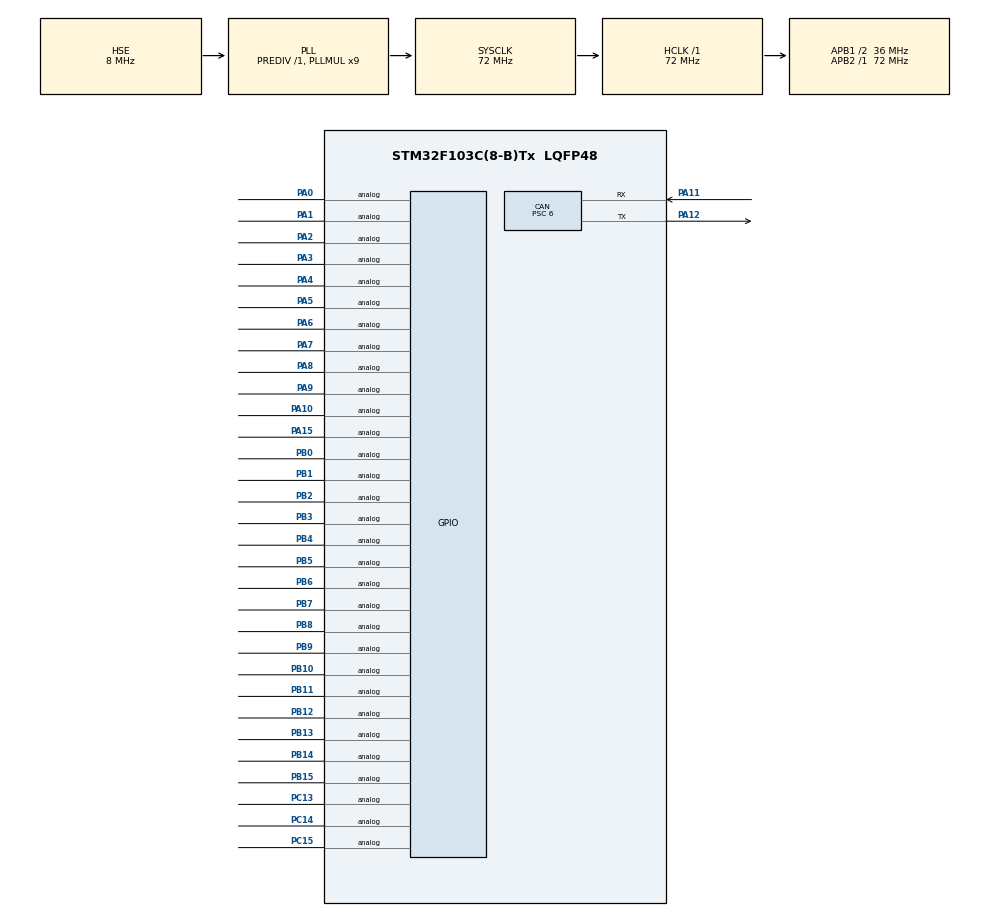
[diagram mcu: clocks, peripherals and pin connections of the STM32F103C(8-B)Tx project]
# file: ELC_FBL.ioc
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CAN.ABOM=ENABLE
CAN.AWUM=ENABLE
CAN.BS1=CAN_BS1_5TQ
CAN.BS2=CAN_BS2_6TQ
CAN.CalculateBaudRate=499999
CAN.CalculateTimeBit=2000
CAN.CalculateTimeQuantum=166.66666666666669
CAN.NART=ENABLE
CAN.Prescaler=6
Mcu.Family=STM32F1
Mcu.Name=STM32F103C(8-B)Tx
Mcu.Package=LQFP48
NVIC.CAN1_RX1_IRQn=true\:0\:0\:false\:true\:true\:5\:true\:true\:true
NVIC.CAN1_SCE_IRQn=true\:0\:0\:false\:true\:true\:4\:true\:true\:true
NVIC.FLASH_IRQn=true\:0\:0\:false\:true\:true\:2\:true\:true\:true
NVIC.PVD_IRQn=true\:0\:0\:false\:true\:true\:3\:true\:true\:true
NVIC.PriorityGroup=NVIC_PRIORITYGROUP_4
NVIC.RCC_IRQn=true\:0\:0\:false\:true\:true\:1\:true\:false\:true
NVIC.USB_HP_CAN1_TX_IRQn=true\:0\:0\:false\:true\:true\:7\:true\:true\:true
NVIC.USB_LP_CAN1_RX0_IRQn=true\:0\:0\:false\:true\:true\:6\:true\:true\:true
PA0-WKUP.Signal=GPIO_Analog
PA1.Signal=GPIO_Analog
PA10.Signal=GPIO_Analog
PA11.GPIO_PuPd=GPIO_PULLUP
PA11.Mode=CAN_Activate
PA11.Signal=CAN_RX
PA12.Mode=CAN_Activate
PA12.Signal=CAN_TX
PA13.Mode=Serial_Wire
PA13.Signal=SYS_JTMS-SWDIO
PA14.Mode=Serial_Wire
PA14.Signal=SYS_JTCK-SWCLK
PA15.Signal=GPIO_Analog
PA2.Signal=GPIO_Analog
PA3.Signal=GPIO_Analog
PA4.Signal=GPIO_Analog
PA5.Signal=GPIO_Analog
PA6.Signal=GPIO_Analog
PA7.Signal=GPIO_Analog
PA8.Signal=GPIO_Analog
PA9.Signal=GPIO_Analog
PB0.Signal=GPIO_Analog
PB1.Signal=GPIO_Analog
PB10.Signal=GPIO_Analog
PB11.Signal=GPIO_Analog
PB12.Signal=GPIO_Analog
PB13.Signal=GPIO_Analog
PB14.Signal=GPIO_Analog
PB15.Signal=GPIO_Analog
PB2.Signal=GPIO_Analog
PB3.Signal=GPIO_Analog
PB4.Signal=GPIO_Analog
PB5.Signal=GPIO_Analog
PB6.Signal=GPIO_Analog
PB7.Signal=GPIO_Analog
PB8.Signal=GPIO_Analog
PB9.Signal=GPIO_Analog
PC13-TAMPER-RTC.Signal=GPIO_Analog
PC14-OSC32_IN.Signal=GPIO_Analog
PC15-OSC32_OUT.Signal=GPIO_Analog
PD0-OSC_IN.Mode=HSE-External-Oscillator
PD0-OSC_IN.Signal=RCC_OSC_IN
PD1-OSC_OUT.Mode=HSE-External-Oscillator
PD1-OSC_OUT.Signal=RCC_OSC_OUT
ProjectManager.HeapSize=0x190
ProjectManager.StackSize=0x190
ProjectManager.TargetToolchain=STM32CubeIDE
RCC.ADCPresc=RCC_ADCPCLK2_DIV6
RCC.AHBFreq_Value=72000000
RCC.APB1CLKDivider=RCC_HCLK_DIV2
RCC.APB1Freq_Value=36000000
RCC.APB1TimFreq_Value=72000000
RCC.APB2Freq_Value=72000000
RCC.APB2TimFreq_Value=72000000
RCC.HCLKFreq_Value=72000000
RCC.PLLMUL=RCC_PLL_MUL9
RCC.PLLSourceVirtual=RCC_PLLSOURCE_HSE
RCC.SYSCLKFreq_VALUE=72000000
RCC.SYSCLKSource=RCC_SYSCLKSOURCE_PLLCLK
RCC.USBFreq_Value=72000000
VP_CRC_VS_CRC.Mode=CRC_Activate
board=custom

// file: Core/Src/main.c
/* USER CODE BEGIN Header */
/* USER CODE END Header */
#include "main.h"
#include "can.h"
#include "crc.h"
#include "gpio.h"

/* USER CODE BEGIN Includes */
#include <stdint.h>
#include <string.h>

#define SYST_CSR  (*(volatile uint32_t*)0xE000E010)
#define SYST_RVR  (*(volatile uint32_t*)0xE000E014)
#define SYST_CVR  (*(volatile uint32_t*)0xE000E018)
#define SESSIONSTATUS_ADDR 					0x20004FC0
#define APPL_START_ADDRESS 					0x08003C00
#define APPL_END_ADDRESS     0x0800F7FFu    /* same as erase end */
#define APPL_CRC_ADDRESS     (APPL_END_ADDRESS - 3u) /* last 4 bytes */
#define APPL_PARAMFLASH_START_ADDRESS 0x08003800u
#define APPL_PARAMFLASH_END_ADDRESS 0x08003BFFu

typedef uint8_t uint8;
typedef uint16_t uint16;
typedef uint32_t uint32;
typedef enum
{
	PROGRAMMING = 2U,
	HARDRESET = 5U,
	JUMPTOAPPL = 7U
}FBL_DSC_t;

volatile uint8_t g_run_ram_updater;
FBL_DSC_t FBL_DSC_State = JUMPTOAPPL;
uint32* FBL_DSC_Pointer = (uint32*)SESSIONSTATUS_ADDR;
uint32 FBL_DSC_Status;
extern uint8_t __ram_blob_load_start[];
extern uint8_t __ram_blob_load_end[];
extern uint8_t __ram_blob_vma_start[];
extern uint8_t __ram_blob_vma_end[];

#define BOOT_START APPL_START_ADDRESS
#define BOOT_END APPL_CRC_ADDRESS
#define BOOT_BLOCK 1
#define BOOT_LEGACY_ERASE 4
#include "boot_protocol.h"
static Boot_Context boot;
static uint8_t FBL_AppVectorsValid(void);
void FBL_RunRamUpdater(void);
void FBL_JumpToAppl(void);
void FBL_DiagService_ER_HardReset(void);
void FBL_NvM_FlashReadData(uint32 StartSectorAddress, uint32 *RxBuf, uint16 numberofwords);
uint32 FBL_NvM_FlashWriteData(uint32 StartSectorAddress, uint32 *Data, uint16 numberofwords);
uint32 FBL_NvM_EraseFlash_APPL(void);
uint32 Nvm_GetPage(uint32 Address);
uint32 FBL_NvM_EraseFlash_PARAM(void);
/* USER CODE END Includes */

/* USER CODE BEGIN PTD */
void FBL_RunRamUpdater(void)
{
    uint32_t previousMask=__get_PRIMASK();
	__disable_irq();

	SYST_CSR = 0; SYST_RVR = 0; SYST_CVR = 0;

	uint8_t *src = __ram_blob_load_start;
	uint8_t *end = __ram_blob_load_end;
	uint8_t *dst = __ram_blob_vma_start;

	size_t size = (size_t)(end - src);
	/* Leave at least 1 KiB below the updater MSP at 0x20004F80. */
	if (((uintptr_t)dst < 0x20000000u) ||
		((uintptr_t)__ram_blob_vma_end > 0x20004B80u) ||
		(((uintptr_t)dst & 0x7Fu) != 0u) ||
		(size < 8u) ||
		(size != (size_t)(__ram_blob_vma_end - dst)))
	{
		__set_PRIMASK(previousMask);
		return;
	}
	memcpy(dst, src, size);

	uint32_t vtor     = (uint32_t)dst;
	uint32_t new_msp  = *(uint32_t *)(vtor + 0);
	uint32_t reset_pc = *(uint32_t *)(vtor + 4);
	if ((new_msp != 0x20004F80u) ||
		((reset_pc & 1u) == 0u) ||
		((reset_pc & ~1u) < vtor) ||
		((reset_pc & ~1u) >= (vtor + size)))
	{
		__set_PRIMASK(previousMask);
		return;
	}

	SCB->VTOR = vtor;
	__DSB();
	__ISB();

	__asm volatile("msr msp, %0\n bx %1"::"r"(new_msp),"r"(reset_pc):"memory");
	__builtin_unreachable();
}

typedef struct {uint8_t data[8],len;} BootRxFrame;
static BootRxFrame bootQueue[16];
static volatile uint8_t bootHead,bootTail;
void HAL_CAN_RxFifo0MsgPendingCallback(CAN_HandleTypeDef *handle)
{
    CAN_RxHeaderTypeDef h;uint8_t d[8];
    while(HAL_CAN_GetRxFifoFillLevel(handle,CAN_RX_FIFO0)){
        if(HAL_CAN_GetRxMessage(handle,CAN_RX_FIFO0,&h,d)!=HAL_OK)break;
        if(h.IDE!=CAN_ID_STD||h.RTR!=CAN_RTR_DATA||h.StdId!=BOOT_RX_ID||h.DLC>8)continue;
        uint8_t next=(bootHead+1u)%16u;if(next==bootTail)continue;
        for(unsigned i=0;i<h.DLC;++i)bootQueue[bootHead].data[i]=d[i];
        bootQueue[bootHead].len=(uint8_t)h.DLC;bootHead=next;
    }
}
/* USER CODE END PTD */

void SystemClock_Config(void);
static void MX_NVIC_Init(void);

int main(void)
{

  /* MCU Configuration--------------------------------------------------------*/

  /* Reset of all peripherals, Initializes the Flash interface and the Systick. */
  HAL_Init();

  /* Configure the system clock */
  SystemClock_Config();

  /* Initialize all configured peripherals */
  Boot_Init(&boot);
  MX_GPIO_Init();
  MX_CAN_Init();
  MX_CRC_Init();

  /* Initialize interrupts */
  MX_NVIC_Init();
  /* USER CODE BEGIN 2 */

	PWR_PVDTypeDef sConfigPVD;

	sConfigPVD.Mode = PWR_PVD_MODE_IT_FALLING;
	sConfigPVD.PVDLevel = PWR_PVDLEVEL_0;

	HAL_PWR_ConfigPVD(&sConfigPVD);

	HAL_PWR_EnablePVD();

	if(((RCC->CSR & RCC_CSR_PORRSTF) != 0))
	{
		for(uint32* addr = ((uint32*)0x20004fc0); addr <= ((uint32*)0x20004fff); addr++)
		{
			*addr = 0;
		}

		RCC->CSR |= RCC_CSR_PORRSTF;
		RCC->CSR |= RCC_CSR_RMVF;
	}
	else
	{
		/* Do nothing. */
	}

    /* A single explicit retained session word is shared with APP. The old
       0x20004FC8 heuristic aliases APP active-time data and is not a boot request. */
    FBL_DSC_Status=*FBL_DSC_Pointer;

	if ((FBL_DSC_Status == PROGRAMMING) || (FBL_AppVectorsValid() == 0u))
	{
		FBL_DSC_State = PROGRAMMING;
	}
	else
	{
		FBL_JumpToAppl();
	}

  /* USER CODE END 2 */

  /* Infinite loop */
	while (1)
	{

    /* USER CODE BEGIN 3 */

        Boot_MainFunction(&boot,HAL_GetTick());
        if(bootTail!=bootHead){
            BootRxFrame frame=bootQueue[bootTail];bootTail=(bootTail+1u)%16u;
            BootTp_RxIndication(&boot,frame.data,frame.len,HAL_GetTick());
        }
		if (g_run_ram_updater)
		{
			g_run_ram_updater = 0;

			FBL_RunRamUpdater();
		}
		else
		{
			/* Do nothing. */
		}
	}

  /* USER CODE END 3 */
}

void SystemClock_Config(void)
{
  RCC_OscInitTypeDef RCC_OscInitStruct = {0};
  RCC_ClkInitTypeDef RCC_ClkInitStruct = {0};

  /** Initializes the RCC Oscillators according to the specified parameters
  * in the RCC_OscInitTypeDef structure.
  */
  RCC_OscInitStruct.OscillatorType = RCC_OSCILLATORTYPE_HSE;
  RCC_OscInitStruct.HSEState = RCC_HSE_ON;
  RCC_OscInitStruct.HSEPredivValue = RCC_HSE_PREDIV_DIV1;
  RCC_OscInitStruct.HSIState = RCC_HSI_ON;
  RCC_OscInitStruct.PLL.PLLState = RCC_PLL_ON;
  RCC_OscInitStruct.PLL.PLLSource = RCC_PLLSOURCE_HSE;
  RCC_OscInitStruct.PLL.PLLMUL = RCC_PLL_MUL9;
  if (HAL_RCC_OscConfig(&RCC_OscInitStruct) != HAL_OK)
  {
    Error_Handler();
  }

  /** Initializes the CPU, AHB and APB buses clocks
  */
  RCC_ClkInitStruct.ClockType = RCC_CLOCKTYPE_HCLK|RCC_CLOCKTYPE_SYSCLK
                              |RCC_CLOCKTYPE_PCLK1|RCC_CLOCKTYPE_PCLK2;
  RCC_ClkInitStruct.SYSCLKSource = RCC_SYSCLKSOURCE_PLLCLK;
  RCC_ClkInitStruct.AHBCLKDivider = RCC_SYSCLK_DIV1;
  RCC_ClkInitStruct.APB1CLKDivider = RCC_HCLK_DIV2;
  RCC_ClkInitStruct.APB2CLKDivider = RCC_HCLK_DIV1;

  if (HAL_RCC_ClockConfig(&RCC_ClkInitStruct, FLASH_LATENCY_2) != HAL_OK)
  {
    Error_Handler();
  }
}

/**
  * @brief NVIC Configuration.
  * @retval None
  */
static void MX_NVIC_Init(void)
{
  /* RCC_IRQn interrupt configuration */
  HAL_NVIC_SetPriority(RCC_IRQn, 0, 0);
  HAL_NVIC_EnableIRQ(RCC_IRQn);
  /* FLASH_IRQn interrupt configuration */
  HAL_NVIC_SetPriority(FLASH_IRQn, 0, 0);
  HAL_NVIC_EnableIRQ(FLASH_IRQn);
  /* PVD_IRQn interrupt configuration */
  HAL_NVIC_SetPriority(PVD_IRQn, 0, 0);
  HAL_NVIC_EnableIRQ(PVD_IRQn);
  /* CAN1_SCE_IRQn interrupt configuration */
  HAL_NVIC_SetPriority(CAN1_SCE_IRQn, 0, 0);
  HAL_NVIC_EnableIRQ(CAN1_SCE_IRQn);
  /* CAN1_RX1_IRQn interrupt configuration */
  HAL_NVIC_SetPriority(CAN1_RX1_IRQn, 0, 0);
  HAL_NVIC_EnableIRQ(CAN1_RX1_IRQn);
  /* USB_LP_CAN1_RX0_IRQn interrupt configuration */
  HAL_NVIC_SetPriority(USB_LP_CAN1_RX0_IRQn, 0, 0);
  HAL_NVIC_EnableIRQ(USB_LP_CAN1_RX0_IRQn);
  /* USB_HP_CAN1_TX_IRQn interrupt configuration */
  HAL_NVIC_SetPriority(USB_HP_CAN1_TX_IRQn, 0, 0);
  HAL_NVIC_EnableIRQ(USB_HP_CAN1_TX_IRQn);
}

/* USER CODE BEGIN 4 */
static uint8_t FBL_AppVectorsValid(void)
{
    uint32_t msp=*(const uint32_t*)APPL_START_ADDRESS,pc=*(const uint32_t*)(APPL_START_ADDRESS+4u);
    return msp>=0x20000000u && msp<=0x20004FC0u && !(msp&7u) && (pc&1u) &&
        (pc&~1u)>=APPL_START_ADDRESS && (pc&~1u)<APPL_CRC_ADDRESS &&
        *(const uint32_t*)APPL_CRC_ADDRESS==Boot_Crc((const uint8_t*)APPL_START_ADDRESS,APPL_CRC_ADDRESS-APPL_START_ADDRESS);
}
static int BootPort_Send(const uint8_t frame[8])
{
    CAN_TxHeaderTypeDef h={0};uint32_t mailbox,start=HAL_GetTick();
    h.StdId=BOOT_TX_ID;h.IDE=CAN_ID_STD;h.RTR=CAN_RTR_DATA;h.DLC=8;
    if(HAL_CAN_AddTxMessage(&hcan,&h,(uint8_t*)frame,&mailbox)!=HAL_OK)return -1;
    while(HAL_CAN_IsTxMessagePending(&hcan,mailbox))if((uint32_t)(HAL_GetTick()-start)>=100u){HAL_CAN_AbortTxRequest(&hcan,mailbox);return -1;}
    unsigned shift=mailbox==CAN_TX_MAILBOX0?0u:mailbox==CAN_TX_MAILBOX1?8u:16u;
    return (hcan.Instance->TSR&(CAN_TSR_TXOK0<<shift))?0:-1;
}
static int BootPort_Program(uint32_t address,uint32_t word)
{return FBL_NvM_FlashWriteData(address,&word,1)?-1:0;}
static int BootPort_Erase(uint32_t address,uint32_t size)
{
    FLASH_EraseInitTypeDef e={0};uint32_t error,mask=__get_PRIMASK();int rc=-1;
    if(!size || !((address>=APPL_START_ADDRESS && address<APPL_CRC_ADDRESS && size<=APPL_CRC_ADDRESS-address)||
       (address==APPL_PARAMFLASH_START_ADDRESS && size==1024u)))return -1;
    uint32_t end=(address+size+1023u)&~1023u;address&=~1023u;
    e.TypeErase=FLASH_TYPEERASE_PAGES;e.PageAddress=address;e.NbPages=(end-address)/1024u;
    __disable_irq();
    if(HAL_FLASH_Unlock()==HAL_OK && HAL_FLASHEx_Erase(&e,&error)==HAL_OK){
        rc=0;for(uint32_t a=address;a<end;a+=4u)if(*(volatile uint32_t*)a!=0xFFFFFFFFu)rc=-1;
    }
    HAL_FLASH_Lock();__set_PRIMASK(mask);return rc;
}
static uint32_t BootPort_Crc(uint32_t address,uint32_t size){return Boot_Crc((const uint8_t*)address,size);}
static int BootPort_Finalize(uint32_t address,uint32_t size)
{
    (void)address;(void)size;
    uint32_t sp=*(volatile uint32_t*)APPL_START_ADDRESS,pc=*(volatile uint32_t*)(APPL_START_ADDRESS+4u);
    if(sp<0x20000000u||sp>0x20004FC0u||(sp&7u)||!(pc&1u)||(pc&~1u)<APPL_START_ADDRESS||(pc&~1u)>=APPL_CRC_ADDRESS)return -1;
    uint32_t crc=BootPort_Crc(APPL_START_ADDRESS,APPL_CRC_ADDRESS-APPL_START_ADDRESS);
    if(*(volatile uint32_t*)APPL_CRC_ADDRESS==crc)return 0;
    return BootPort_Program(APPL_CRC_ADDRESS,crc);
}
static int BootPort_Reset(void)
{
    if(!FBL_AppVectorsValid())return -1;
    FBL_DiagService_ER_HardReset();return 0;
}
static void BootPort_Updater(void){g_run_ram_updater=1;}

uint32 FBL_NvM_EraseFlash_PARAM(void){return BootPort_Erase(APPL_PARAMFLASH_START_ADDRESS,1024u)?1u:0u;}
uint32 FBL_NvM_EraseFlash_APPL(void){return BootPort_Erase(APPL_START_ADDRESS,APPL_CRC_ADDRESS-APPL_START_ADDRESS)?1u:0u;}
uint32 Nvm_GetPage(uint32 address){return address>=0x08000000u && address<0x08010000u?address&~1023u:0u;}
uint32 FBL_NvM_FlashWriteData(uint32 address,uint32 *data,uint16 words)
{
    if(!data||!words||(address&3u)||address<APPL_START_ADDRESS||address>APPL_CRC_ADDRESS||4u*words>APPL_CRC_ADDRESS+4u-address)return 1;
    uint32_t mask=__get_PRIMASK(),result=0;__disable_irq();
    if(HAL_FLASH_Unlock()!=HAL_OK)result=1;
    for(unsigned i=0;i<words && !result;++i){
        if(HAL_FLASH_Program(FLASH_TYPEPROGRAM_WORD,address+4u*i,data[i])!=HAL_OK || *(volatile uint32_t*)(address+4u*i)!=data[i])result=1;
    }
    HAL_FLASH_Lock();__set_PRIMASK(mask);return result;
}

void FBL_NvM_FlashReadData(uint32 address,uint32 *dst,uint16 words)
{
    if(!dst||address<0x08000000u||address>0x08010000u||4u*words>0x08010000u-address)return;
    for(unsigned i=0;i<words;++i)dst[i]=*(const uint32_t*)(address+4u*i);
}

void FBL_JumpToAppl(void)
{
	typedef void (*pFunction)(void);

	uint32 app_address = APPL_START_ADDRESS;
	pFunction app_entry;
	uint32 msp_value = *((uint32*)app_address);

	__disable_irq();

	HAL_NVIC_ClearPendingIRQ(CAN1_SCE_IRQn);
	HAL_NVIC_ClearPendingIRQ(CAN1_RX1_IRQn);
	HAL_NVIC_ClearPendingIRQ(USB_LP_CAN1_RX0_IRQn);
	HAL_NVIC_ClearPendingIRQ(USB_HP_CAN1_TX_IRQn);
	HAL_NVIC_ClearPendingIRQ(RCC_IRQn);
	HAL_NVIC_ClearPendingIRQ(FLASH_IRQn);
	HAL_NVIC_ClearPendingIRQ(PVD_IRQn);

	SysTick->CTRL = 0;
	SysTick->LOAD = 0;
	SysTick->VAL = 0;
	SCB->VTOR = app_address;

	app_entry = (pFunction)(*((uint32*)(app_address + 4)));
	__DSB();__ISB();
	__asm volatile("msr msp, %0\n bx %1"::"r"(msp_value),"r"(app_entry):"memory");
	__builtin_unreachable();
}

void FBL_DiagService_ER_HardReset(void)
{
	__disable_irq();

	*FBL_DSC_Pointer = 0u;

	__NVIC_SystemReset();
}
/* USER CODE END 4 */

void Error_Handler(void)
{
  /* USER CODE BEGIN Error_Handler_Debug */

	NVIC_SystemReset();

  /* USER CODE END Error_Handler_Debug */
}
